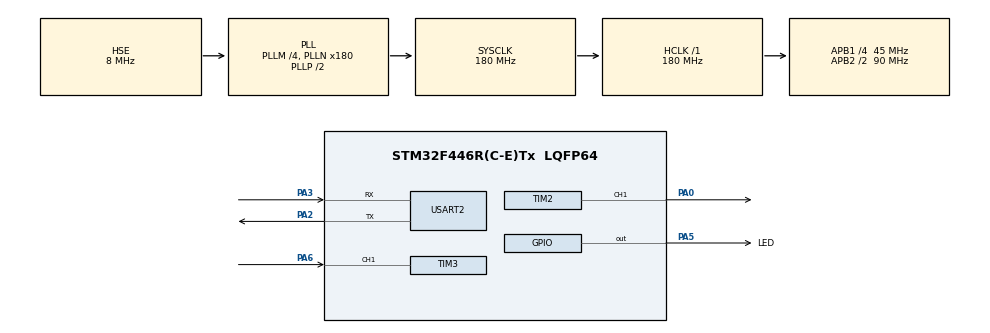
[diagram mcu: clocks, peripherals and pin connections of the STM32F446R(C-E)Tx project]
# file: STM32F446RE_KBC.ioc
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Dma.Request0=TIM2_CH1
Dma.TIM2_CH1.0.Direction=DMA_MEMORY_TO_PERIPH
Dma.TIM2_CH1.0.FIFOMode=DMA_FIFOMODE_DISABLE
Dma.TIM2_CH1.0.Instance=DMA1_Stream5
Dma.TIM2_CH1.0.MemDataAlignment=DMA_MDATAALIGN_WORD
Dma.TIM2_CH1.0.MemInc=DMA_MINC_ENABLE
Dma.TIM2_CH1.0.Mode=DMA_NORMAL
Dma.TIM2_CH1.0.PeriphDataAlignment=DMA_PDATAALIGN_WORD
Dma.TIM2_CH1.0.PeriphInc=DMA_PINC_DISABLE
Dma.TIM2_CH1.0.Priority=DMA_PRIORITY_LOW
FREERTOS.Tasks01=defaultTask,24,128,StartDefaultTask,Default,NULL,Dynamic,NULL,NULL
Mcu.Family=STM32F4
Mcu.Name=STM32F446R(C-E)Tx
Mcu.Package=LQFP64
NVIC.DMA1_Stream5_IRQn=true\:5\:0\:false\:false\:true\:true\:false\:true\:true
NVIC.PriorityGroup=NVIC_PRIORITYGROUP_4
NVIC.TIM1_UP_TIM10_IRQn=true\:15\:0\:false\:false\:true\:false\:false\:true\:true
NVIC.TIM3_IRQn=true\:5\:0\:false\:false\:true\:true\:true\:true\:true
NVIC.TimeBase=TIM1_UP_TIM10_IRQn
NVIC.TimeBaseIP=TIM1
NVIC.USART2_IRQn=true\:5\:0\:false\:false\:true\:true\:true\:true\:true
PA0-WKUP.Signal=S_TIM2_CH1_ETR
PA13.Mode=Serial_Wire
PA13.Signal=SYS_JTMS-SWDIO
PA14.Mode=Serial_Wire
PA14.Signal=SYS_JTCK-SWCLK
PA2.Mode=Asynchronous
PA2.Signal=USART2_TX
PA3.Mode=Asynchronous
PA3.Signal=USART2_RX
PA5.GPIO_Label=LED
PA5.Signal=GPIO_Output
PA6.Signal=S_TIM3_CH1
PH0-OSC_IN.Mode=HSE-External-Oscillator
PH0-OSC_IN.Signal=RCC_OSC_IN
PH1-OSC_OUT.Mode=HSE-External-Oscillator
PH1-OSC_OUT.Signal=RCC_OSC_OUT
ProjectManager.HeapSize=0x200
ProjectManager.StackSize=0x400
ProjectManager.TargetToolchain=STM32CubeIDE
RCC.AHBFreq_Value=180000000
RCC.APB1CLKDivider=RCC_HCLK_DIV4
RCC.APB1Freq_Value=45000000
RCC.APB1TimFreq_Value=90000000
RCC.APB2CLKDivider=RCC_HCLK_DIV2
RCC.APB2Freq_Value=90000000
RCC.APB2TimFreq_Value=180000000
RCC.CortexFreq_Value=180000000
RCC.FLatency-AdvancedSettings=FLASH_LATENCY_5
RCC.HCLKFreq_Value=180000000
RCC.HSE_VALUE=8000000
RCC.HSI_VALUE=16000000
RCC.LSE_VALUE=32768
RCC.PLLM=4
RCC.PLLN=180
RCC.PLLSourceVirtual=RCC_PLLSOURCE_HSE
RCC.SYSCLKFreq_VALUE=180000000
RCC.SYSCLKSource=RCC_SYSCLKSOURCE_PLLCLK
RCC.USBFreq_Value=180000000
RCC.VCOOutputFreq_Value=360000000
SH.S_TIM2_CH1_ETR.0=TIM2_CH1,PWM Generation1 CH1
SH.S_TIM3_CH1.0=TIM3_CH1,PWM_Input_1
TIM2.AutoReloadPreload=TIM_AUTORELOAD_PRELOAD_ENABLE
TIM2.Channel-PWM\ Generation1\ CH1=TIM_CHANNEL_1
TIM2.Period=100
TIM2.Prescaler=90-1
TIM2.Pulse-PWM\ Generation1\ CH1=0
TIM3.Prescaler=0
USART2.VirtualMode=VM_ASYNC
VP_FREERTOS_VS_CMSIS_V2.Mode=CMSIS_V2
VP_SYS_VS_tim1.Mode=TIM1
VP_TIM2_VS_ClockSourceINT.Mode=Internal
VP_TIM3_VS_ClockSourceINT.Mode=Internal
board=NUCLEO-F446RE

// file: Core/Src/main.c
/* USER CODE BEGIN Header */
/**
  ******************************************************************************
  * @file           : main.c
  * @brief          : Main program body
  ******************************************************************************
  * @attention
  *
  * Copyright (c) 2025 STMicroelectronics.
  * All rights reserved.
  *
  * This software is licensed under terms that can be found in the LICENSE file
  * in the root directory of this software component.
  * If no LICENSE file comes with this software, it is provided AS-IS.
  *
  ******************************************************************************
  */
/* USER CODE END Header */
#include "main.h"
#include "cmsis_os.h"

/* USER CODE BEGIN Includes */
#include "FreeRTOS.h"
#include "task.h"
#include "queue.h"
#include "semphr.h"
#include "tasks.h"
#include "stm32f4xx_hal.h"
#include "config.h"

/* USER CODE END Includes */

TIM_HandleTypeDef htim2;
TIM_HandleTypeDef htim3;
DMA_HandleTypeDef hdma_tim2_ch1;

UART_HandleTypeDef huart2;

/* Definitions for defaultTask */
osThreadId_t defaultTaskHandle;
const osThreadAttr_t defaultTask_attributes = {
  .name = "defaultTask",
  .stack_size = 128 * 4,
  .priority = (osPriority_t) osPriorityNormal,
};
/* USER CODE BEGIN PV */

QueueHandle_t uartRxQueue = NULL;

/* USER CODE END PV */

void SystemClock_Config(void);
static void MX_GPIO_Init(void);
static void MX_DMA_Init(void);
static void MX_TIM2_Init(void);
static void MX_USART2_UART_Init(void);
static void MX_TIM3_Init(void);
void StartDefaultTask(void *argument);

/* USER CODE BEGIN 0 */
#define TIMCLOCK 90000000 // 90MHz
#define PRESCALER 90  // 90MHz / 90 = 1MHz

void HAL_UART_RxCpltCallback(UART_HandleTypeDef *huart)
{
  uint8_t receivedByte;
  BaseType_t xHigherPriorityTaskWoken = pdFALSE;

  if (huart->Instance == USART2)
  {
    receivedByte = (uint8_t)(huart->Instance->DR & (uint8_t)0x00FF);
    xQueueSendFromISR(uartRxQueue, &receivedByte, &xHigherPriorityTaskWoken);

    // Re-enable UART receive interrupt
    HAL_UART_Receive_IT(huart, &receivedByte, 1);

    // If sending from ISR wakes a higher priority task, yield
    portYIELD_FROM_ISR(xHigherPriorityTaskWoken);
  }
}

// uint32_t IC_Val1 = 0;
// uint32_t IC_Val2 = 0;
// uint32_t Difference = 0;
// int Is_First_Captured = 0;
// float frequency = 0;

// void HAL_TIM_IC_CaptureCallback(TIM_HandleTypeDef *htim)
// {
//   if (htim->Channel == HAL_TIM_ACTIVE_CHANNEL_1)
//   {
//     if (Is_First_Captured == 0) // if the first value is not captured
//     {
//       IC_Val1 = HAL_TIM_ReadCapturedValue(htim, TIM_CHANNEL_1); // read the first value
//       Is_First_Captured = 1; // set the first captured as true
//     }
//     else if (Is_First_Captured == 1) // if the second value is captured
//     {
//       IC_Val2 = HAL_TIM_ReadCapturedValue(htim, TIM_CHANNEL_1); // read second value
//       if (IC_Val2 > IC_Val1)
//       {
//         Difference = IC_Val2 - IC_Val1; // calculate the difference between two values
//       }
//       else
//       {
//         Difference = (0xFFFF - IC_Val1) + IC_Val2; // calculate the difference when overflow occurs
//       }
//       frequency = (float)TIMCLOCK / (PRESCALER * Difference); // calculate frequency

//       __HAL_TIM_SET_COUNTER(htim, 0); // reset the counter
//       Is_First_Captured = 0; // reset the capture state
//     }
//   }
// }

uint32_t ICValue = 0;
uint32_t Frequency = 0;
float Duty = 0;

void HAL_TIM_IC_CaptureCallback(TIM_HandleTypeDef *htim) {
	if (htim->Channel == HAL_TIM_ACTIVE_CHANNEL_1) // If interrupt is triggered by channel 1
	{
		// Read the IC value
		ICValue = HAL_TIM_ReadCapturedValue(htim, TIM_CHANNEL_1);

		if (ICValue != 0)
		{
			// Calc the duty cycle
			Duty = (HAL_TIM_ReadCapturedValue(htim, TIM_CHANNEL_2) *100)/ICValue;

			Frequency = 90000000/ICValue;
		}
	}
}

/* USER CODE END 0 */

int main(void)
{

  /* MCU Configuration--------------------------------------------------------*/

  /* Reset of all peripherals, Initializes the Flash interface and the Systick. */
  HAL_Init();

  /* Configure the system clock */
  SystemClock_Config();

  /* Initialize all configured peripherals */
  MX_GPIO_Init();
  MX_DMA_Init();
  MX_TIM2_Init();
  MX_USART2_UART_Init();
  MX_TIM3_Init();
  /* USER CODE BEGIN 2 */
  TIM1->CCR1 = 50;
  HAL_TIM_PWM_Start(&htim2, TIM_CHANNEL_1);

  HAL_TIM_IC_Start_IT(&htim3, TIM_CHANNEL_1);

  tasks_init(); // Initialize tasks and FreeRTOS components

  /* USER CODE END 2 */

  /* Init scheduler */
  osKernelInitialize();

  /* Create the thread(s) */
  /* creation of defaultTask */
  defaultTaskHandle = osThreadNew(StartDefaultTask, NULL, &defaultTask_attributes);

  /* USER CODE BEGIN RTOS_EVENTS */
  /* add events, ... */
  vTaskStartScheduler();
  /* USER CODE END RTOS_EVENTS */

  /* Start scheduler */
  osKernelStart();

  /* We should never get here as control is now taken by the scheduler */

  /* Infinite loop */
  while (1)
  {

  }
}

void SystemClock_Config(void)
{
  RCC_OscInitTypeDef RCC_OscInitStruct = {0};
  RCC_ClkInitTypeDef RCC_ClkInitStruct = {0};

  /** Configure the main internal regulator output voltage
  */
  __HAL_RCC_PWR_CLK_ENABLE();
  __HAL_PWR_VOLTAGESCALING_CONFIG(PWR_REGULATOR_VOLTAGE_SCALE1);

  /** Initializes the RCC Oscillators according to the specified parameters
  * in the RCC_OscInitTypeDef structure.
  */
  RCC_OscInitStruct.OscillatorType = RCC_OSCILLATORTYPE_HSE;
  RCC_OscInitStruct.HSEState = RCC_HSE_ON;
  RCC_OscInitStruct.PLL.PLLState = RCC_PLL_ON;
  RCC_OscInitStruct.PLL.PLLSource = RCC_PLLSOURCE_HSE;
  RCC_OscInitStruct.PLL.PLLM = 4;
  RCC_OscInitStruct.PLL.PLLN = 180;
  RCC_OscInitStruct.PLL.PLLP = RCC_PLLP_DIV2;
  RCC_OscInitStruct.PLL.PLLQ = 2;
  RCC_OscInitStruct.PLL.PLLR = 2;
  if (HAL_RCC_OscConfig(&RCC_OscInitStruct) != HAL_OK)
  {
    Error_Handler();
  }

  /** Activate the Over-Drive mode
  */
  if (HAL_PWREx_EnableOverDrive() != HAL_OK)
  {
    Error_Handler();
  }

  /** Initializes the CPU, AHB and APB buses clocks
  */
  RCC_ClkInitStruct.ClockType = RCC_CLOCKTYPE_HCLK|RCC_CLOCKTYPE_SYSCLK
                              |RCC_CLOCKTYPE_PCLK1|RCC_CLOCKTYPE_PCLK2;
  RCC_ClkInitStruct.SYSCLKSource = RCC_SYSCLKSOURCE_PLLCLK;
  RCC_ClkInitStruct.AHBCLKDivider = RCC_SYSCLK_DIV1;
  RCC_ClkInitStruct.APB1CLKDivider = RCC_HCLK_DIV4;
  RCC_ClkInitStruct.APB2CLKDivider = RCC_HCLK_DIV2;

  if (HAL_RCC_ClockConfig(&RCC_ClkInitStruct, FLASH_LATENCY_5) != HAL_OK)
  {
    Error_Handler();
  }
}

static void MX_TIM2_Init(void)
{

  TIM_ClockConfigTypeDef sClockSourceConfig = {0};
  TIM_MasterConfigTypeDef sMasterConfig = {0};
  TIM_OC_InitTypeDef sConfigOC = {0};

  htim2.Instance = TIM2;
  htim2.Init.Prescaler = 90-1;
  htim2.Init.CounterMode = TIM_COUNTERMODE_UP;
  htim2.Init.Period = 100-1;
  htim2.Init.ClockDivision = TIM_CLOCKDIVISION_DIV1;
  htim2.Init.AutoReloadPreload = TIM_AUTORELOAD_PRELOAD_ENABLE;
  if (HAL_TIM_Base_Init(&htim2) != HAL_OK)
  {
    Error_Handler();
  }
  sClockSourceConfig.ClockSource = TIM_CLOCKSOURCE_INTERNAL;
  if (HAL_TIM_ConfigClockSource(&htim2, &sClockSourceConfig) != HAL_OK)
  {
    Error_Handler();
  }
  if (HAL_TIM_PWM_Init(&htim2) != HAL_OK)
  {
    Error_Handler();
  }
  sMasterConfig.MasterOutputTrigger = TIM_TRGO_RESET;
  sMasterConfig.MasterSlaveMode = TIM_MASTERSLAVEMODE_DISABLE;
  if (HAL_TIMEx_MasterConfigSynchronization(&htim2, &sMasterConfig) != HAL_OK)
  {
    Error_Handler();
  }
  sConfigOC.OCMode = TIM_OCMODE_PWM1;
  sConfigOC.Pulse = 0;
  sConfigOC.OCPolarity = TIM_OCPOLARITY_HIGH;
  sConfigOC.OCFastMode = TIM_OCFAST_DISABLE;
  if (HAL_TIM_PWM_ConfigChannel(&htim2, &sConfigOC, TIM_CHANNEL_1) != HAL_OK)
  {
    Error_Handler();
  }
  HAL_TIM_MspPostInit(&htim2);

}

static void MX_TIM3_Init(void)
{

  TIM_ClockConfigTypeDef sClockSourceConfig = {0};
  TIM_SlaveConfigTypeDef sSlaveConfig = {0};
  TIM_IC_InitTypeDef sConfigIC = {0};
  TIM_MasterConfigTypeDef sMasterConfig = {0};

  htim3.Instance = TIM3;
  htim3.Init.Prescaler = 0;
  htim3.Init.CounterMode = TIM_COUNTERMODE_UP;
  htim3.Init.Period = 65535;
  htim3.Init.ClockDivision = TIM_CLOCKDIVISION_DIV1;
  htim3.Init.AutoReloadPreload = TIM_AUTORELOAD_PRELOAD_DISABLE;
  if (HAL_TIM_Base_Init(&htim3) != HAL_OK)
  {
    Error_Handler();
  }
  sClockSourceConfig.ClockSource = TIM_CLOCKSOURCE_INTERNAL;
  if (HAL_TIM_ConfigClockSource(&htim3, &sClockSourceConfig) != HAL_OK)
  {
    Error_Handler();
  }
  if (HAL_TIM_IC_Init(&htim3) != HAL_OK)
  {
    Error_Handler();
  }
  sSlaveConfig.SlaveMode = TIM_SLAVEMODE_RESET;
  sSlaveConfig.InputTrigger = TIM_TS_TI1FP1;
  sSlaveConfig.TriggerPolarity = TIM_INPUTCHANNELPOLARITY_RISING;
  sSlaveConfig.TriggerPrescaler = TIM_ICPSC_DIV1;
  sSlaveConfig.TriggerFilter = 0;
  if (HAL_TIM_SlaveConfigSynchro(&htim3, &sSlaveConfig) != HAL_OK)
  {
    Error_Handler();
  }
  sConfigIC.ICPolarity = TIM_INPUTCHANNELPOLARITY_RISING;
  sConfigIC.ICSelection = TIM_ICSELECTION_DIRECTTI;
  sConfigIC.ICPrescaler = TIM_ICPSC_DIV1;
  sConfigIC.ICFilter = 0;
  if (HAL_TIM_IC_ConfigChannel(&htim3, &sConfigIC, TIM_CHANNEL_1) != HAL_OK)
  {
    Error_Handler();
  }
  sConfigIC.ICPolarity = TIM_INPUTCHANNELPOLARITY_FALLING;
  sConfigIC.ICSelection = TIM_ICSELECTION_INDIRECTTI;
  if (HAL_TIM_IC_ConfigChannel(&htim3, &sConfigIC, TIM_CHANNEL_2) != HAL_OK)
  {
    Error_Handler();
  }
  sMasterConfig.MasterOutputTrigger = TIM_TRGO_RESET;
  sMasterConfig.MasterSlaveMode = TIM_MASTERSLAVEMODE_DISABLE;
  if (HAL_TIMEx_MasterConfigSynchronization(&htim3, &sMasterConfig) != HAL_OK)
  {
    Error_Handler();
  }

}

static void MX_USART2_UART_Init(void)
{

  huart2.Instance = USART2;
  huart2.Init.BaudRate = 115200;
  huart2.Init.WordLength = UART_WORDLENGTH_8B;
  huart2.Init.StopBits = UART_STOPBITS_1;
  huart2.Init.Parity = UART_PARITY_NONE;
  huart2.Init.Mode = UART_MODE_TX_RX;
  huart2.Init.HwFlowCtl = UART_HWCONTROL_NONE;
  huart2.Init.OverSampling = UART_OVERSAMPLING_16;
  if (HAL_UART_Init(&huart2) != HAL_OK)
  {
    Error_Handler();
  }

}

static void MX_DMA_Init(void)
{

  /* DMA controller clock enable */
  __HAL_RCC_DMA1_CLK_ENABLE();

  /* DMA interrupt init */
  /* DMA1_Stream5_IRQn interrupt configuration */
  HAL_NVIC_SetPriority(DMA1_Stream5_IRQn, 5, 0);
  HAL_NVIC_EnableIRQ(DMA1_Stream5_IRQn);

}

static void MX_GPIO_Init(void)
{
  GPIO_InitTypeDef GPIO_InitStruct = {0};

  /* GPIO Ports Clock Enable */
  __HAL_RCC_GPIOH_CLK_ENABLE();
  __HAL_RCC_GPIOA_CLK_ENABLE();

  /*Configure GPIO pin Output Level */
  HAL_GPIO_WritePin(LED_GPIO_Port, LED_Pin, GPIO_PIN_RESET);

  /*Configure GPIO pin : LED_Pin */
  GPIO_InitStruct.Pin = LED_Pin;
  GPIO_InitStruct.Mode = GPIO_MODE_OUTPUT_PP;
  GPIO_InitStruct.Pull = GPIO_NOPULL;
  GPIO_InitStruct.Speed = GPIO_SPEED_FREQ_LOW;
  HAL_GPIO_Init(LED_GPIO_Port, &GPIO_InitStruct);

}

/* USER CODE BEGIN 4 */

/**
 * @brief UART receive complete callback
 *
 * This function is called when a byte is received over UART.
 * It sends the received byte to the FreeRTOS queue for processing.
 *
 * @param huart: pointer to the UART handle
 */

/* USER CODE END 4 */

void StartDefaultTask(void *argument)
{
  for(;;)
  {
    osDelay(1);
  }
}

void HAL_TIM_PeriodElapsedCallback(TIM_HandleTypeDef *htim)
{
  if (htim->Instance == TIM1)
  {
    HAL_IncTick();
  }
}

void Error_Handler(void)
{
  __disable_irq();
  while (1)
  {
  }
}
